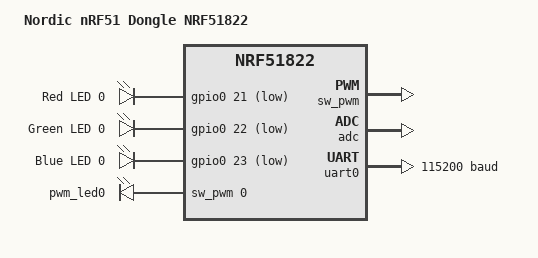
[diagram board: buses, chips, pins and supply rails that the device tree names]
/*
 * Copyright (c) 2018 Nordic Semiconductor ASA.
 *
 * SPDX-License-Identifier: Apache-2.0
 */

/dts-v1/;
#include <nordic/nrf51822_qfac.dtsi>
#include "nrf51dongle_nrf51822-pinctrl.dtsi"

/ {
	compatible = "nordic,nrf51-dongle-nrf51822";
	model = "Nordic nRF51 Dongle NRF51822";

	chosen {
		zephyr,console = &uart0;
		zephyr,shell-uart = &uart0;
		zephyr,uart-mcumgr = &uart0;
		zephyr,bt-mon-uart = &uart0;
		zephyr,bt-c2h-uart = &uart0;
		zephyr,sram = &sram0;
		zephyr,flash = &flash0;
		zephyr,code-partition = &slot0_partition;
	};

	leds {
		compatible = "gpio-leds";

		led0_red: led_0 {
			gpios = <&gpio0 21 GPIO_ACTIVE_LOW>;
			label = "Red LED 0";
		};

		led0_green: led_1 {
			gpios = <&gpio0 22 GPIO_ACTIVE_LOW>;
			label = "Green LED 0";
		};

		led0_blue: led_2 {
			gpios = <&gpio0 23 GPIO_ACTIVE_LOW>;
			label = "Blue LED 0";
		};
	};

	pwmleds {
		compatible = "pwm-leds";

		pwm_led0: pwm_led_0 {
			pwms = <&sw_pwm 0 PWM_MSEC(20) PWM_POLARITY_INVERTED>;
		};
	};

	/* These aliases are provided for compatibility with samples */
	aliases {
		led0 = &led0_red;
		led1 = &led0_green;
		led2 = &led0_blue;
		pwm-led0 = &pwm_led0;
		watchdog0 = &wdt0;
	};
};

&sw_pwm {
	channel-gpios = <&gpio0 21 PWM_POLARITY_INVERTED>;
	clock-prescaler = <8>;
	status = "okay";
};

&gpiote {
	status = "okay";
};

&gpio0 {
	status = "okay";
};

&adc {
	status = "okay";
};

&uart0 {
	current-speed = <115200>;
	pinctrl-0 = <&uart0_default>;
	pinctrl-1 = <&uart0_sleep>;
	pinctrl-names = "default", "sleep";
	status = "okay";
};

&flash0 {
	partitions {
		compatible = "fixed-partitions";
		#address-cells = <1>;
		#size-cells = <1>;

		boot_partition: partition@0 {
			reg = <0x00000000 0x8000>;
			label = "mcuboot";
		};

		slot0_partition: partition@8000 {
			reg = <0x00008000 0x1b000>;
			label = "image-0";
		};

		slot1_partition: partition@23000 {
			reg = <0x00023000 0x1b000>;
			label = "image-1";
		};

		storage_partition: partition@3e000 {
			reg = <0x0003e000 0x00002000>;
			label = "storage";
		};
	};
};
